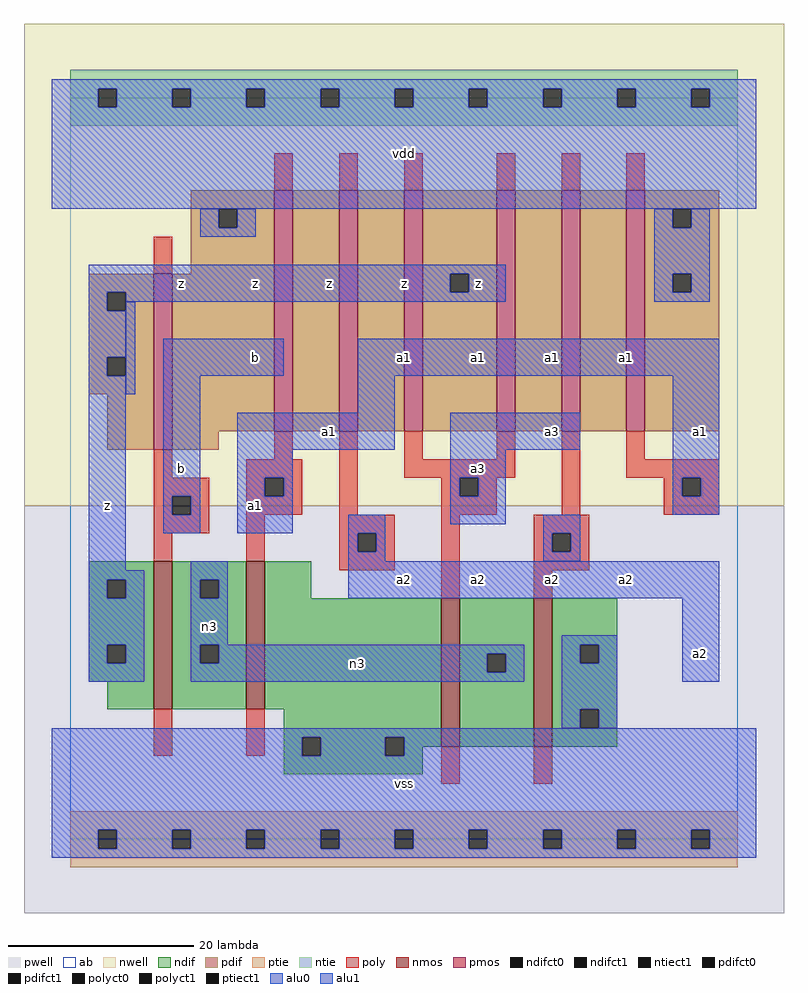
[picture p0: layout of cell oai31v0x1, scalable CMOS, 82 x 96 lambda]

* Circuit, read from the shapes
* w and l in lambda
.subckt oai31v0x1 a1 a2 a3 b n3 vdd vss z
M1 n3 b z vss nfet w=16 l=2
M2 vss a1 n3 vss nfet w=16 l=2
M3 n3 a3 vss vss nfet w=16 l=2
M4 vss a2 n3 vss nfet w=16 l=2
M5 vdd b z vdd pfet w=19 l=2
M6 n1 a1 vdd vdd pfet w=26 l=2
M7 n2 a2 n1 vdd pfet w=26 l=2
M8 z a3 n2 vdd pfet w=26 l=2
M9 n4 a3 z vdd pfet w=26 l=2
M10 n5 a2 n4 vdd pfet w=26 l=2
M11 vdd a1 n5 vdd pfet w=26 l=2
.ends

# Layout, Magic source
magic
tech scmos
<< ab >>
rect 0 0 72 80
<< nwell >>
rect -5 36 77 88
<< pwell >>
rect -5 -8 77 36
<< poly >>
rect 22 70 24 74
rect 29 70 31 74
rect 36 70 38 74
rect 46 70 48 74
rect 53 70 55 74
rect 60 70 62 74
rect 9 61 11 65
rect 9 39 11 42
rect 22 41 24 44
rect 19 39 25 41
rect 9 37 15 39
rect 9 35 11 37
rect 13 35 15 37
rect 9 33 15 35
rect 19 37 21 39
rect 23 37 25 39
rect 19 35 25 37
rect 29 35 31 44
rect 36 41 38 44
rect 46 41 48 44
rect 36 39 48 41
rect 40 37 42 39
rect 44 37 46 39
rect 40 35 46 37
rect 53 35 55 44
rect 60 41 62 44
rect 60 39 70 41
rect 64 37 66 39
rect 68 37 70 39
rect 64 35 70 37
rect 9 30 11 33
rect 19 30 21 35
rect 29 33 35 35
rect 29 31 31 33
rect 33 31 35 33
rect 29 29 35 31
rect 40 26 42 35
rect 50 33 56 35
rect 50 31 52 33
rect 54 31 56 33
rect 50 29 56 31
rect 50 26 52 29
rect 9 9 11 14
rect 19 9 21 14
rect 40 6 42 10
rect 50 6 52 10
<< ndif >>
rect 2 28 9 30
rect 2 26 4 28
rect 6 26 9 28
rect 2 21 9 26
rect 2 19 4 21
rect 6 19 9 21
rect 2 17 9 19
rect 4 14 9 17
rect 11 28 19 30
rect 11 26 14 28
rect 16 26 19 28
rect 11 21 19 26
rect 11 19 14 21
rect 16 19 19 21
rect 11 14 19 19
rect 21 26 26 30
rect 21 14 40 26
rect 23 11 40 14
rect 23 9 25 11
rect 27 9 34 11
rect 36 10 40 11
rect 42 20 50 26
rect 42 18 45 20
rect 47 18 50 20
rect 42 10 50 18
rect 52 21 59 26
rect 52 19 55 21
rect 57 19 59 21
rect 52 14 59 19
rect 52 12 55 14
rect 57 12 59 14
rect 52 10 59 12
rect 36 9 38 10
rect 23 7 38 9
<< pdif >>
rect 13 68 22 70
rect 13 66 16 68
rect 18 66 22 68
rect 13 61 22 66
rect 2 59 9 61
rect 2 57 4 59
rect 6 57 9 59
rect 2 52 9 57
rect 2 50 4 52
rect 6 50 9 52
rect 2 48 9 50
rect 4 42 9 48
rect 11 44 22 61
rect 24 44 29 70
rect 31 44 36 70
rect 38 61 46 70
rect 38 59 41 61
rect 43 59 46 61
rect 38 44 46 59
rect 48 44 53 70
rect 55 44 60 70
rect 62 68 70 70
rect 62 66 65 68
rect 67 66 70 68
rect 62 61 70 66
rect 62 59 65 61
rect 67 59 70 61
rect 62 44 70 59
rect 11 42 16 44
<< alu1 >>
rect -2 81 74 82
rect -2 79 3 81
rect 5 79 11 81
rect 13 79 19 81
rect 21 79 27 81
rect 29 79 35 81
rect 37 79 43 81
rect 45 79 51 81
rect 53 79 59 81
rect 61 79 67 81
rect 69 79 74 81
rect -2 68 74 79
rect 2 61 47 62
rect 2 59 41 61
rect 43 59 47 61
rect 2 57 4 59
rect 6 58 47 59
rect 2 52 6 57
rect 2 50 4 52
rect 2 29 6 50
rect 10 50 23 54
rect 31 50 70 54
rect 10 37 14 50
rect 31 46 35 50
rect 10 35 11 37
rect 13 35 14 37
rect 10 33 14 35
rect 18 42 35 46
rect 41 42 55 46
rect 18 39 24 42
rect 18 37 21 39
rect 23 37 24 39
rect 18 33 24 37
rect 41 39 47 42
rect 41 37 42 39
rect 44 37 47 39
rect 30 33 34 35
rect 41 34 47 37
rect 65 39 70 50
rect 65 37 66 39
rect 68 37 70 39
rect 65 35 70 37
rect 30 31 31 33
rect 33 31 34 33
rect 30 30 34 31
rect 2 28 8 29
rect 2 26 4 28
rect 6 26 8 28
rect 2 21 8 26
rect 2 19 4 21
rect 6 19 8 21
rect 2 17 8 19
rect 30 26 70 30
rect 66 17 70 26
rect -2 11 74 12
rect -2 9 25 11
rect 27 9 34 11
rect 36 9 74 11
rect -2 1 74 9
rect -2 -1 3 1
rect 5 -1 11 1
rect 13 -1 19 1
rect 21 -1 27 1
rect 29 -1 35 1
rect 37 -1 43 1
rect 45 -1 51 1
rect 53 -1 59 1
rect 61 -1 67 1
rect 69 -1 74 1
rect -2 -2 74 -1
<< ptie >>
rect 0 1 72 3
rect 0 -1 3 1
rect 5 -1 11 1
rect 13 -1 19 1
rect 21 -1 27 1
rect 29 -1 35 1
rect 37 -1 43 1
rect 45 -1 51 1
rect 53 -1 59 1
rect 61 -1 67 1
rect 69 -1 72 1
rect 0 -3 72 -1
<< ntie >>
rect 0 81 72 83
rect 0 79 3 81
rect 5 79 11 81
rect 13 79 19 81
rect 21 79 27 81
rect 29 79 35 81
rect 37 79 43 81
rect 45 79 51 81
rect 53 79 59 81
rect 61 79 67 81
rect 69 79 72 81
rect 0 77 72 79
<< nmos >>
rect 9 14 11 30
rect 19 14 21 30
rect 40 10 42 26
rect 50 10 52 26
<< pmos >>
rect 9 42 11 61
rect 22 44 24 70
rect 29 44 31 70
rect 36 44 38 70
rect 46 44 48 70
rect 53 44 55 70
rect 60 44 62 70
<< polyct0 >>
rect 52 31 54 33
<< polyct1 >>
rect 11 35 13 37
rect 21 37 23 39
rect 42 37 44 39
rect 66 37 68 39
rect 31 31 33 33
<< ndifct0 >>
rect 14 26 16 28
rect 14 19 16 21
rect 45 18 47 20
rect 55 19 57 21
rect 55 12 57 14
<< ndifct1 >>
rect 4 26 6 28
rect 4 19 6 21
rect 25 9 27 11
rect 34 9 36 11
<< ntiect1 >>
rect 3 79 5 81
rect 11 79 13 81
rect 19 79 21 81
rect 27 79 29 81
rect 35 79 37 81
rect 43 79 45 81
rect 51 79 53 81
rect 59 79 61 81
rect 67 79 69 81
<< ptiect1 >>
rect 3 -1 5 1
rect 11 -1 13 1
rect 19 -1 21 1
rect 27 -1 29 1
rect 35 -1 37 1
rect 43 -1 45 1
rect 51 -1 53 1
rect 59 -1 61 1
rect 67 -1 69 1
<< pdifct0 >>
rect 16 66 18 68
rect 65 66 67 68
rect 65 59 67 61
<< pdifct1 >>
rect 4 57 6 59
rect 4 50 6 52
rect 41 59 43 61
<< alu0 >>
rect 14 66 16 68
rect 18 66 20 68
rect 14 65 20 66
rect 63 66 65 68
rect 67 66 69 68
rect 63 61 69 66
rect 63 59 65 61
rect 67 59 69 61
rect 63 58 69 59
rect 6 48 7 58
rect 51 33 55 35
rect 51 31 52 33
rect 54 31 55 33
rect 51 30 55 31
rect 13 28 17 30
rect 13 26 14 28
rect 16 26 17 28
rect 13 21 17 26
rect 53 21 59 22
rect 13 19 14 21
rect 16 20 49 21
rect 16 19 45 20
rect 13 18 45 19
rect 47 18 49 20
rect 13 17 49 18
rect 53 19 55 21
rect 57 19 59 21
rect 53 14 59 19
rect 53 12 55 14
rect 57 12 59 14
<< labels >>
rlabel alu0 15 23 15 23 6 n3
rlabel alu0 31 19 31 19 6 n3
rlabel alu1 4 36 4 36 6 z
rlabel alu1 12 40 12 40 6 b
rlabel alu1 20 36 20 36 6 a1
rlabel alu1 20 52 20 52 6 b
rlabel alu1 12 60 12 60 6 z
rlabel alu1 20 60 20 60 6 z
rlabel alu1 36 6 36 6 6 vss
rlabel alu1 36 28 36 28 6 a2
rlabel alu1 28 44 28 44 6 a1
rlabel alu1 36 52 36 52 6 a1
rlabel alu1 28 60 28 60 6 z
rlabel alu1 36 60 36 60 6 z
rlabel alu1 36 74 36 74 6 vdd
rlabel alu1 44 28 44 28 6 a2
rlabel alu1 52 28 52 28 6 a2
rlabel alu1 44 40 44 40 6 a3
rlabel alu1 52 44 52 44 6 a3
rlabel alu1 52 52 52 52 6 a1
rlabel alu1 44 52 44 52 6 a1
rlabel alu1 44 60 44 60 6 z
rlabel alu1 60 28 60 28 6 a2
rlabel alu1 68 20 68 20 6 a2
rlabel alu1 68 44 68 44 6 a1
rlabel alu1 60 52 60 52 6 a1
<< end >>
